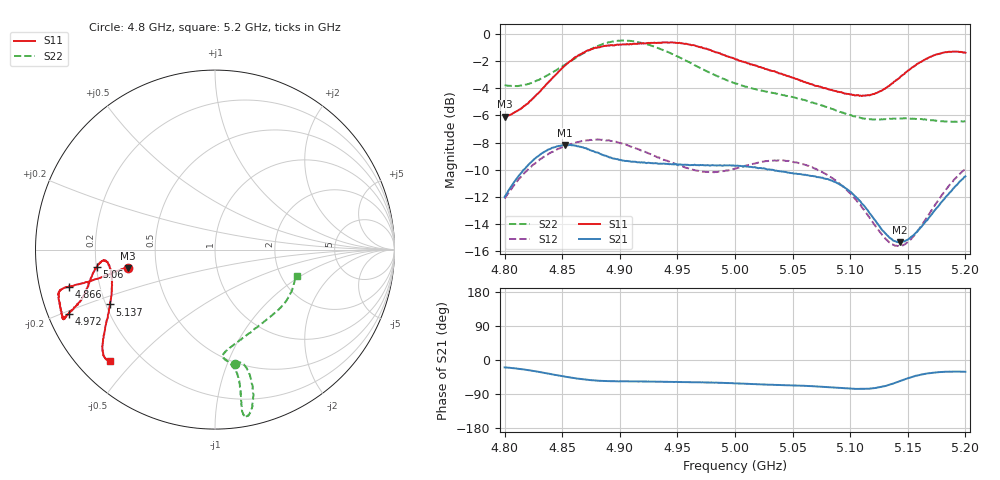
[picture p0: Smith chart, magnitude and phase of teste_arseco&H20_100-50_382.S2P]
! Network Analyzer HP8722D
! Hewlett-Packard
! Data name: Linha & Wilkinson
! Saver's name: Rodrigo Anjos
! Comments: Teste da utilização de aquisição
! continua pelo VNA HP8722D
! Time and date: 6/5/2025 15:45
!  Frequency  S11  S21  S12  S22
# HZ  S  MA R 50
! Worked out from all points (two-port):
!   401 points, 4.8 GHz to 5.2 GHz, reference 50 ohm
!   highest |S21| = -8.16 dB at 4.852 GHz (marker M1); lowest = -15.3 dB at 5.143 GHz (marker M2)
!   |S21| within 3 dB of the highest: 4.806 GHz to 5.093 GHz (286.6 MHz wide, 5.79 % of centre); 5.191843 GHz to end of sweep
!   lowest |S11| = -6.1 dB at 4.8 GHz (marker M3), VSWR 2.97, Z = 17 - j4.61 ohm
!   |S11| at or under -10 dB: nowhere
!   |S22| runs from -6.5 to -0.5 dB; largest |S21 - S12| = 0.62
!   S11 on the Smith chart (normalised r, x): 4.8 GHz: 0.34, -0.09; 4.866 GHz: 0.09, -0.12; 4.972 GHz: 0.06, -0.21; 5.06 GHz: 0.20, -0.07; 5.137 GHz: 0.22, -0.23; 5.2 GHz: 0.09, -0.43
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4.8e9  0.4964 -168.1  0.2513 -19.5  0.2481 -140.7  0.6483 -80.3
4.823e9  0.5697 -167.4  0.3373 -27.8  0.3244 -143.5  0.6591 -76.0
4.852e9  0.7626 -165.8  0.3908 -43.6  0.3867 -149.1  0.768 -74.5
4.866e9  0.8405 -165.8  0.3844 -50.1  0.4025 -151.7  0.8381 -75.2
4.867e9  0.8456 -165.7  0.3832 -50.6  0.4033 -151.9  0.8429 -75.3
4.879e9  0.8903 -165.4  0.3671 -54.0  0.4081 -153.9  0.8947 -76.5
4.899e9  0.9124 -162.7  0.3445 -56.5  0.3983 -156.5  0.9445 -79.0
4.934e9  0.9279 -156.3  0.333 -57.4  0.3516 -155.5  0.8841 -80.4
4.972e9  0.887 -156.3  0.3294 -58.9  0.3113 -146.1  0.7404 -79.7
5e9  0.8088 -158.9  0.3275 -61.7  0.3198 -137.1  0.658 -81.2
5.035e9  0.7259 -165.1  0.3141 -65.7  0.3424 -134.2  0.6048 -85.6
5.06e9  0.6662 -171.6  0.3032 -68.0  0.331 -135.9  0.5721 -84.2
5.067e9  0.6532 -173.0  0.3004 -69.0  0.3234 -136.6  0.5595 -82.5
5.083e9  0.6223 -174.4  0.2895 -72.1  0.2974 -138.1  0.5324 -76.7
5.101e9  0.5999 -171.9  0.261 -75.7  0.2564 -138.7  0.5025 -66.6
5.116e9  0.5955 -165.5  0.2218 -75.9  0.2132 -135.5  0.4851 -55.6
5.134e9  0.6448 -154.1  0.1783 -65.3  0.171 -120.8  0.4874 -43.3
5.137e9  0.6595 -152.4  0.174 -62.5  0.168 -117.0  0.4881 -41.5
5.143e9  0.6907 -149.2  0.171 -56.0  0.1659 -109.0  0.4886 -38.0
5.154e9  0.7538 -144.3  0.1806 -44.5  0.1784 -95.2  0.4881 -32.3
5.174e9  0.8379 -138.3  0.2258 -32.7  0.2363 -80.3  0.4798 -23.9
5.2e9  0.8528 -133.4  0.2993 -31.1  0.319 -76.8  0.4767 -17.6
